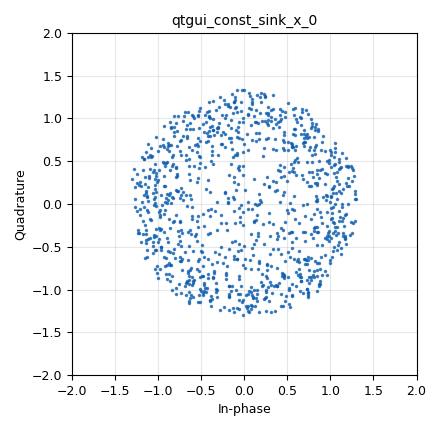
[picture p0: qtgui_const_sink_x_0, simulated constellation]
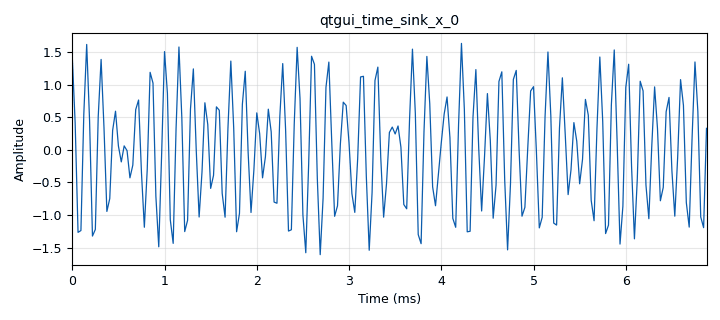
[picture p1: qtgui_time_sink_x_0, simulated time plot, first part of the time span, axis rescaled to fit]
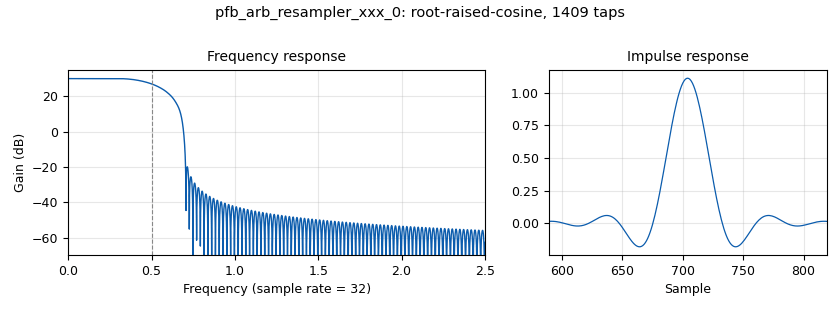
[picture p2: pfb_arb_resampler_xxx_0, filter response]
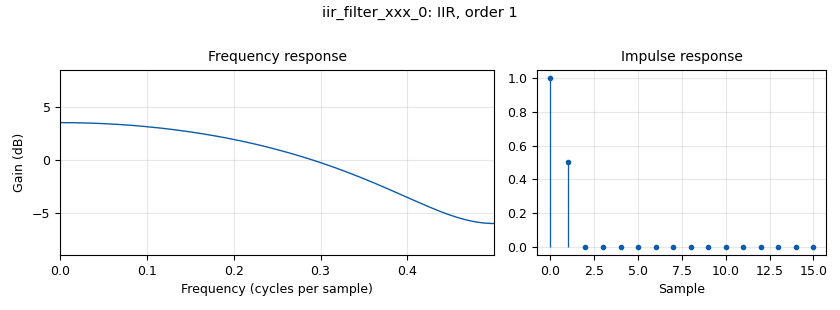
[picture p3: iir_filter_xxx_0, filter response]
options:
  parameters:
    author: vinam
    generate_options: qt_gui
    id: lab7_task1
    output_language: python
    title: Lab 7 Task 1
  states: {}

blocks:
- name: nfilts
  id: variable
  parameters:
    value: '32'
  states: {}
- name: ntaps
  id: variable
  parameters:
    value: 11*nfilts*sps
  states: {}
- name: rx_taps
  id: variable
  parameters:
    value: firdes.root_raised_cosine(nfilts,nfilts*sps,1.0,0.4,ntaps)
  states: {}
- name: samp_rate
  id: variable
  parameters:
    value: '32000'
  states: {}
- name: sps
  id: variable
  parameters:
    value: '4'
  states: {}
- name: timing_bw
  id: variable
  parameters:
    value: 2*pi/100
  states: {}
- name: tx_taps
  id: variable
  parameters:
    value: firdes.root_raised_cosine(nfilts,nfilts,1.0,0.4,ntaps)
  states: {}
- name: analog_random_source_x_0
  id: analog_random_source_x
  parameters:
    max: '8'
    min: '0'
    num_samps: '1000'
    repeat: 'True'
    type: byte
  states: {}
- name: analog_sig_source_x_0
  id: analog_sig_source_x
  parameters:
    amp: '1'
    freq: '100000'
    offset: '0'
    phase: '0'
    samp_rate: '500000'
    type: complex
    waveform: analog.GR_COS_WAVE
  states: {}
- name: blocks_complex_to_real_0
  id: blocks_complex_to_real
  parameters: {}
  states: {}
- name: blocks_multiply_xx_0
  id: blocks_multiply_xx
  parameters:
    type: complex
  states: {}
- name: blocks_throttle_0
  id: blocks_throttle
  parameters:
    samples_per_second: '500000'
    type: complex
  states: {}
- name: blocks_throttle_0_0
  id: blocks_throttle
  parameters:
    samples_per_second: '500000'
    type: float
  states: {}
- name: digital_chunks_to_symbols_xx_0
  id: digital_chunks_to_symbols_xx
  parameters:
    dimension: '1'
    in_type: byte
    out_type: complex
    symbol_table: ((-0.707-0.707j),(-1-0j),(-0.707+0.707j),(0+1j),(0.707+0.707j),(1+0j),(0.707-0.707j),(0-1j))
  states: {}
- name: iir_filter_xxx_0
  id: iir_filter_xxx
  parameters:
    fbtaps: '1'
    fftaps: '[1, 0.5]'
    type: ffd
  states: {}
- name: import_0
  id: import
  parameters:
    imports: from math import pi as pi
  states: {}
- name: import_1
  id: import
  parameters:
    imports: from gnuradio import digital
  states: {}
- name: import_2
  id: import
  parameters:
    imports: from gnuradio.filter import firdes
  states: {}
- name: pfb_arb_resampler_xxx_0
  id: pfb_arb_resampler_xxx
  parameters:
    atten: '100'
    nfilts: '32'
    rrate: sps
    taps: tx_taps
    type: ccf
  states: {}
- name: qtgui_const_sink_x_0
  id: qtgui_const_sink_x
  parameters:
    gui_hint: tab@0
    size: '1024'
    type: complex
  states: {}
- name: qtgui_time_sink_x_0
  id: qtgui_time_sink_x
  parameters:
    size: '1024'
    srate: samp_rate
    type: float
  states: {}
- name: rational_resampler_xxx_0
  id: rational_resampler_xxx
  parameters:
    decim: '128000'
    interp: '500000'
    taps: ''
    type: ccc
  states: {}
- name: tab
  id: qtgui_tab_widget
  parameters:
    label0: Before Multipath
    label1: After Multipath
    label2: Tab 2
    num_tabs: '3'
  states: {}

connections:
- [analog_random_source_x_0, '0', digital_chunks_to_symbols_xx_0, '0']
- [analog_sig_source_x_0, '0', blocks_multiply_xx_0, '1']
- [blocks_complex_to_real_0, '0', iir_filter_xxx_0, '0']
- [blocks_multiply_xx_0, '0', blocks_complex_to_real_0, '0']
- [blocks_multiply_xx_0, '0', blocks_throttle_0, '0']
- [blocks_throttle_0, '0', qtgui_const_sink_x_0, '0']
- [blocks_throttle_0_0, '0', qtgui_time_sink_x_0, '0']
- [digital_chunks_to_symbols_xx_0, '0', pfb_arb_resampler_xxx_0, '0']
- [iir_filter_xxx_0, '0', blocks_throttle_0_0, '0']
- [pfb_arb_resampler_xxx_0, '0', rational_resampler_xxx_0, '0']
- [rational_resampler_xxx_0, '0', blocks_multiply_xx_0, '0']

metadata:
  file_format: 1
